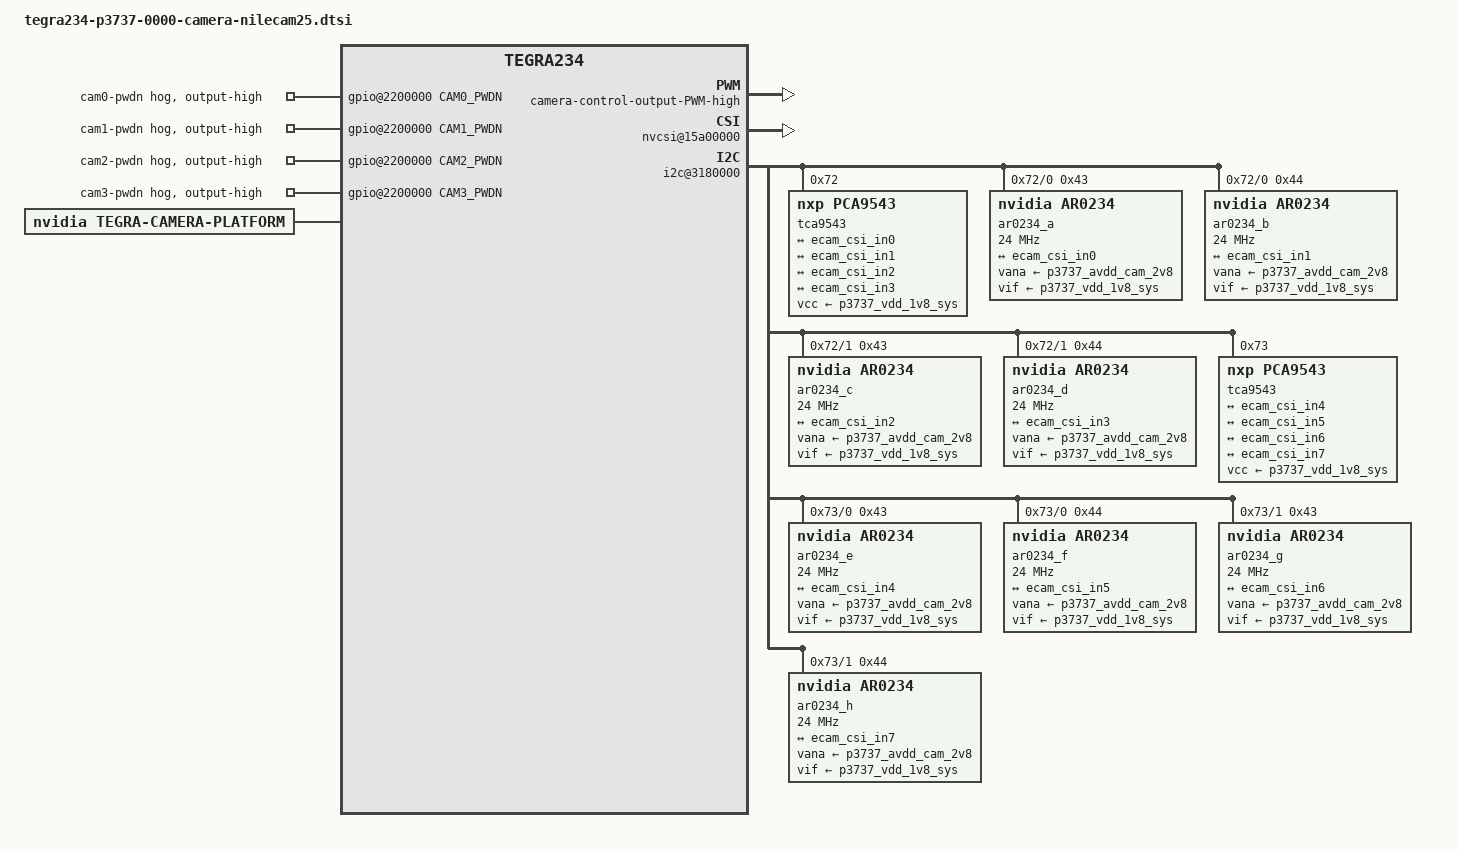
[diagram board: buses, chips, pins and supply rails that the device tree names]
/* Econ device tree for AR0234 support */

#include "dt-bindings/clock/tegra234-clock.h"

#define CAM0_PWDN	TEGRA234_MAIN_GPIO(H, 6)
#define CAM1_PWDN	TEGRA234_MAIN_GPIO(AC, 0)
#define CAM2_PWDN	TEGRA234_MAIN_GPIO(H, 3)
#define CAM3_PWDN	TEGRA234_MAIN_GPIO(AC, 1)
#define CAM_PWM		TEGRA234_MAIN_GPIO(M, 7)
#define CAM_I2C_MUX 	TEGRA234_AON_GPIO(CC, 3)
#define CAMERA_I2C_MUX_BUS(x) (0x1E + x)

#define CAM_LANES 2
#define CAM_LANES_STRING "2"

/ {
	gpio@2200000 {
	
		camera-control-output-CAM0-high {
                        status = "okay";
                        gpio-hog;
                        gpios = <CAM0_PWDN 0>;
                        output-high;
                        label = "cam0-pwdn";
                };
		camera-control-output-CAM1-high {
                        status = "okay";
                        gpio-hog;
                        gpios = <CAM1_PWDN 0>;
                        output-high;
                        label = "cam1-pwdn";
                };
                camera-control-output-CAM2-high {
                        status = "okay";
                        gpio-hog;
                        gpios = <CAM2_PWDN 0>;
                        output-high;
                        label = "cam2-pwdn";
                };
                camera-control-output-CAM3-high {
                        status = "okay";
                        gpio-hog;
                        gpios = <CAM3_PWDN 0>;
                        output-high;
                        label = "cam3-pwdn";
                };
                camera-control-output-PWM-high {
                        status = "okay";
                        gpio-hog;
                        gpios = <CAM_PWM 0>;
                        output-high;
                        label = "cam-pwm";
                };
	};

capture_vi_base: tegra-capture-vi  {
			num-channels = <8>;
			#address-cells = <1>;
			#size-cells = <0>;
			status = "okay";
			ports {
				#address-cells = <1>;
				#size-cells = <0>;
				status = "okay";
				port@0 {
					reg = <0>;
					status = "okay";
					ecam_vi_in0: endpoint {
						vc-id = <0x01>;
						status = "okay";
						port-index = <0>;
						bus-width = <CAM_LANES>;
						remote-endpoint = <&ecam_csi_out0>;
					};
				};
				port@1 {
                                        reg = <1>;
					status = "okay";
                                        ecam_vi_in1: endpoint {
                                        	vc-id = <0x00>;
						status = "okay";
                                                port-index = <1>;
                                                bus-width = <CAM_LANES>;
                                                remote-endpoint = <&ecam_csi_out1>;
                                        };
                                };
                                port@2 {
                                        reg = <2>;
					status = "okay";
                                        ecam_vi_in2: endpoint {
                                        	vc-id = <0x01>;
						status = "okay";
                                                port-index = <2>;
                                                bus-width = <CAM_LANES>;
                                                remote-endpoint = <&ecam_csi_out2>;
                                        };
                                };
				port@3 {
                                        reg = <3>;
					status = "okay";
                                        ecam_vi_in3: endpoint {
						status = "okay";
						vc-id = <0x00>;
                                                port-index = <3>;
                                                bus-width = <CAM_LANES>;
                                                remote-endpoint = <&ecam_csi_out3>;
                                        };
                                };
				port@4 {
                                        reg = <4>;
					status = "okay";
                                        ecam_vi_in4: endpoint {
                                        	vc-id = <0x01>;
						status = "okay";
                                                port-index = <4>;
                                                bus-width = <CAM_LANES>;
                                                remote-endpoint = <&ecam_csi_out4>;
                                        };
                                };
				port@5 {
                                        reg = <5>;
					 status = "okay";
                                        ecam_vi_in5: endpoint {
						status = "okay";
						vc-id = <0x00>;
                                                port-index = <4>;
                                                bus-width = <CAM_LANES>;
                                                remote-endpoint = <&ecam_csi_out5>;
                                        };
                                };
				port@6 {
                                        reg = <6>;
					status = "okay";
                                        ecam_vi_in6: endpoint {
						status = "okay";
						vc-id = <0x01>;
                                                port-index = <5>;
                                                bus-width = <CAM_LANES>;
                                                remote-endpoint = <&ecam_csi_out6>;
                                        };
                                };
				port@7 {
                                        reg = <7>;
					status = "okay";
                                        ecam_vi_in7: endpoint {
						status = "okay";
						vc-id = <0x00>;
                                                port-index = <5>;
                                                bus-width = <CAM_LANES>;
                                                remote-endpoint = <&ecam_csi_out7>;
                                        };
                                };

			};
		};

	host1x@13e00000 {

		nvcsi@15a00000 {
			num-channels = <8>;
			#address-cells = <1>;
			#size-cells = <0>;
			status = "okay";
	    		channel@0 {
				reg = <0>;
				status = "okay";
				ports {
					#address-cells = <1>;
					#size-cells = <0>;
					port@0 {
						reg = <0>;
						status = "okay";
						ecam_csi_in0: endpoint@0 {
							status = "okay";
							port-index = <0>;
							bus-width = <CAM_LANES>;
							remote-endpoint = <&ecam_ar0234_out0>;
						};
					};
					port@1 {
						reg = <1>;
						status = "okay";
						ecam_csi_out0: endpoint@1 {
							status = "okay";
							remote-endpoint = <&ecam_vi_in0>;
						};
					};
				};
			};
                        channel@1 {
                                reg = <1>;
				status = "okay";
                                ports {
                                        #address-cells = <1>;
                                        #size-cells = <0>;
                                        port@0 {
                                                reg = <0>;
						status = "okay";
                                                ecam_csi_in1: endpoint@2 {
							status = "okay";
                                                        port-index = <1>;
                                                        bus-width = <CAM_LANES>;
                                                        remote-endpoint = <&ecam_ar0234_out1>;
                                                };
                                        };
                                        port@1 {
                                                reg = <1>;
						status = "okay";
                                                ecam_csi_out1: endpoint@3 {
							status = "okay";
                                                        remote-endpoint = <&ecam_vi_in1>;
                                                };
                                        };
                                };
                        };
                        channel@2 {
                                reg = <2>;
				status = "okay";
                                ports {
                                        #address-cells = <1>;
                                        #size-cells = <0>;
                                        port@0 {
                                                reg = <0>;
						status = "okay";
                                                ecam_csi_in2: endpoint@4 {
							status = "okay";
                                                        port-index = <2>;
                                                        bus-width = <CAM_LANES>;
                                                        remote-endpoint = <&ecam_ar0234_out2>;
                                                };
                                        };
                                        port@1 {
                                                reg = <1>;
						status = "okay";
                                                ecam_csi_out2: endpoint@5 {
							status = "okay";
                                                        remote-endpoint = <&ecam_vi_in2>;
                                                };
                                        };
                                };
                        };
			channel@3 {
                                reg = <3>;
				status = "okay";
                                ports {
                                        #address-cells = <1>;
                                        #size-cells = <0>;
                                        port@0 {
                                                reg = <0>;
						status = "okay";
                                                ecam_csi_in3: endpoint@6 {
							status = "okay";
                                                        port-index = <3>;
                                                        bus-width = <CAM_LANES>;
                                                        remote-endpoint = <&ecam_ar0234_out3>;
                                                };
                                        };
                                        port@1 {
                                                reg = <1>;
						status = "okay";
                                                ecam_csi_out3: endpoint@7 {
							status = "okay";
                                                        remote-endpoint = <&ecam_vi_in3>;
                                                };
                                        };
                                };
                        };
			channel@4 {
                                reg = <4>;
				status = "okay";
                                ports {
                                        #address-cells = <1>;
                                        #size-cells = <0>;
                                        port@0 {
                                                reg = <0>;
						status = "okay";
                                                ecam_csi_in4: endpoint@8 {
							status = "okay";
                                                        port-index = <4>;
                                                        bus-width = <CAM_LANES>;
                                                        remote-endpoint = <&ecam_ar0234_out4>;
                                                };
                                        };
                                        port@1 {
                                                reg = <1>;
						status = "okay";
                                                ecam_csi_out4: endpoint@9 {
							status = "okay";
                                                        remote-endpoint = <&ecam_vi_in4>;
                                                };
                                        };
                                };
                        };
			channel@5 {
				reg = <5>;
				status = "okay";
				ports {
					#address-cells = <1>;
					#size-cells = <0>;
					port@0 {
						reg = <0>;
						status = "okay";
						ecam_csi_in5: endpoint@10 {
							status = "okay";
							port-index = <4>;
							bus-width = <CAM_LANES>;
							remote-endpoint = <&ecam_ar0234_out5>;
						};
					};
					port@1 {
						reg = <1>;
						status = "okay";
						ecam_csi_out5: endpoint@11 {
							status = "okay";
							remote-endpoint = <&ecam_vi_in5>;
						};
					};
				};
			};
			channel@6 {
				reg = <6>;
				status = "okay";
				ports {
					#address-cells = <1>;
					#size-cells = <0>;
					port@0 {
						reg = <0>;
						status = "okay";
						ecam_csi_in6: endpoint@12 {
							status = "okay";
							port-index = <6>;
							bus-width = <CAM_LANES>;
							remote-endpoint = <&ecam_ar0234_out6>;
						};
					};
					port@1 {
						reg = <1>;
						status = "okay";
						ecam_csi_out6: endpoint@13 {
							status = "okay";
							remote-endpoint = <&ecam_vi_in6>;
						};
					};
				};
			};
			channel@7 {
				reg = <7>;
				status = "okay";
				ports {
					#address-cells = <1>;
					#size-cells = <0>;
					port@0 {
						reg = <0>;
						status = "okay";
						ecam_csi_in7: endpoint@14 {
							status = "okay";
							port-index = <6>;
							bus-width = <CAM_LANES>;
							remote-endpoint = <&ecam_ar0234_out7>;
						};
					};
					port@1 {
						reg = <1>;
						status = "okay";
						ecam_csi_out7: endpoint@15 {
							status = "okay";
							remote-endpoint = <&ecam_vi_in7>;
						};
					};
				};
			};

		};
	};

	fixed-regulators {
			p3737_vdd_1v8_sys: regulator@103 {
					regulator-always-on;
			};
	};


	i2c@3180000 {
		status = "okay";
		#address-cells = <1>;
		#size-cells = <0>;
		tca9543@72 {
			compatible = "nxp,pca9543";
			reg = <0x72>;
			#address-cells = <1>;
			#size-cells = <0>;
			vcc-supply = <&p3737_vdd_1v8_sys>;
			skip_mux_detect;
			force_bus_start = <0x1e>;
			status = "okay";

			/* /dev/i2c-30/ */
			i2c@0 {
				reg = <0>;
				i2c-mux,deselect-on-exit;
				#address-cells = <1>;
				#size-cells = <0>;
				status = "okay";
				ar0234_a@43 {
					status = "okay";
					compatible = "nvidia,ar0234";
					reg = <0x43>;
					sensor_model ="ar0234";
					avdd-reg = "vana";
					iovdd-reg = "vif";
					clocks = <&bpmp_clks TEGRA234_CLK_EXTPERIPH1>,
							 <&bpmp_clks TEGRA234_CLK_EXTPERIPH1>;
					clock-names = "extperiph1", "pllp_grtba";
					mclk = "extperiph1";
					clock-frequency = <24000000>;
					//deser-reset-gpios = <&tegra_main_gpio CAM0_PWDN GPIO_ACTIVE_HIGH>;
					vana-supply = <&p3737_avdd_cam_2v8>;
					vif-supply = <&p3737_vdd_1v8_sys>;
					use_sensor_mode_id = "false";
					camera_mipi_lanes = <2>;
					camera-mipi-clk = <1200>;	
					sio-port = "A";
#define TEGRA_SINTERFACE "serial_a"
#include "nilecam25_cuoagx_mode.dtsi"	
					ports {
						#address-cells = <1>;
						#size-cells = <0>;
						port@0 {
							reg = <0>;
							ecam_ar0234_out0: endpoint {
								vc-id = <1>;
								port-index = <0>;
								bus-width = <CAM_LANES>;
								remote-endpoint = <&ecam_csi_in0>;
								};
							};
						};
					};
			ar0234_b@44 {
					status = "okay";
					compatible = "nvidia,ar0234";
					reg = <0x44>;
					sensor_model ="ar0234";
					avdd-reg = "vana";
					iovdd-reg = "vif";
					clocks = <&bpmp_clks TEGRA234_CLK_EXTPERIPH1>,
							 <&bpmp_clks TEGRA234_CLK_EXTPERIPH1>;
					clock-names = "extperiph1", "pllp_grtba";
					mclk = "extperiph1";
					clock-frequency = <24000000>;
					//deser-reset-gpios = <&tegra_main_gpio CAM0_PWDN GPIO_ACTIVE_HIGH>; 
					vana-supply = <&p3737_avdd_cam_2v8>;
					vif-supply = <&p3737_vdd_1v8_sys>;
					use_sensor_mode_id = "false";
					camera_mipi_lanes = <2>;
					camera-mipi-clk = <1200>;
					sio-port = "B";
#undef TEGRA_SINTERFACE	
#define TEGRA_SINTERFACE "serial_b"
#include "nilecam25_cuoagx_mode.dtsi"	
					ports {
						#address-cells = <1>;
						#size-cells = <0>;
						port@0 {
							reg = <0>;
							ecam_ar0234_out1: endpoint {
								vc-id = <0>;
								port-index = <1>;
								bus-width = <CAM_LANES>;
								remote-endpoint = <&ecam_csi_in1>;
								};
							};
						};
					};
				};
			i2c@1 {
				reg = <1>;
				i2c-mux,deselect-on-exit;
				#address-cells = <1>;
				#size-cells = <0>;
				status = "okay";
				ar0234_c@43 {
					status = "okay";
					compatible = "nvidia,ar0234";
					reg = <0x43>;
					sensor_model ="ar0234";
					avdd-reg = "vana";
					iovdd-reg = "vif";
					clocks = <&bpmp_clks  TEGRA234_CLK_EXTPERIPH1>,
							 <&bpmp_clks TEGRA234_CLK_EXTPERIPH1>;
					clock-names = "extperiph1", "pllp_grtba";
					mclk = "extperiph1";
					clock-frequency = <24000000>;
					//deser-reset-gpios = <&tegra_main_gpio CAM1_PWDN GPIO_ACTIVE_HIGH>;
					vana-supply = <&p3737_avdd_cam_2v8>;
					vif-supply = <&p3737_vdd_1v8_sys>;
					use_sensor_mode_id = "false";
					camera_mipi_lanes = <2>;
					camera-mipi-clk = <1200>;
					sio-port = "A";
#undef TEGRA_SINTERFACE	
#define TEGRA_SINTERFACE "serial_c"
#include "nilecam25_cuoagx_mode.dtsi"
					ports {
						#address-cells = <1>;
						#size-cells = <0>;
						port@0 {
							reg = <0>;
							ecam_ar0234_out2: endpoint {
								vc-id = <1>;
								port-index = <2>;
								bus-width = <CAM_LANES>;
								remote-endpoint = <&ecam_csi_in2>;
								};
							};
						};
				};
			ar0234_d@44 {
					status = "okay";
					compatible = "nvidia,ar0234";
					reg = <0x44>;
					sensor_model ="ar0234";
					avdd-reg = "vana";
					iovdd-reg = "vif";
					clocks = <&bpmp_clks  TEGRA234_CLK_EXTPERIPH1>,
							 <&bpmp_clks TEGRA234_CLK_EXTPERIPH1>;
					clock-names = "extperiph1", "pllp_grtba";
					mclk = "extperiph1";
					clock-frequency = <24000000>;
					//deser-reset-gpios = <&tegra_main_gpio CAM1_PWDN GPIO_ACTIVE_HIGH>;
					vana-supply = <&p3737_avdd_cam_2v8>;
					vif-supply = <&p3737_vdd_1v8_sys>;
					use_sensor_mode_id = "false";
					camera_mipi_lanes = <2>;
					camera-mipi-clk = <1200>;	
					sio-port = "B";	
#undef TEGRA_SINTERFACE	
#define TEGRA_SINTERFACE "serial_d"
#include "nilecam25_cuoagx_mode.dtsi"
					ports {
						#address-cells = <1>;
						#size-cells = <0>;
						port@0 {
							reg = <0>;
							ecam_ar0234_out3: endpoint {
								vc-id = <0>;
								port-index = <3>;
								bus-width = <CAM_LANES>;
								remote-endpoint = <&ecam_csi_in3>;
								};
							};
						};
					};
				};
			};
		tca9543@73 {
			compatible = "nxp,pca9543";
			reg = <0x73>;
			#address-cells = <1>;
			#size-cells = <0>;
			skip_mux_detect = "yes";
			vcc-supply = <&p3737_vdd_1v8_sys>;
			force_bus_start = <CAMERA_I2C_MUX_BUS(2)>; /* Force start of bus 32 */
			status = "okay";
			/* /dev/i2c-32/ */

			i2c@0 {
				reg = <0>;
				i2c-mux,deselect-on-exit;
				#address-cells = <1>;
				#size-cells = <0>;
				status = "okay";
				ar0234_e@43 {
					status = "okay";
					compatible = "nvidia,ar0234";
					reg = <0x43>;
					sensor_model ="ar0234";
					avdd-reg = "vana";
					iovdd-reg = "vif";
					clocks = <&bpmp_clks  TEGRA234_CLK_EXTPERIPH1>,
							 <&bpmp_clks TEGRA234_CLK_EXTPERIPH1>;
					clock-names = "extperiph1", "pllp_grtba";
					mclk = "extperiph1";
					clock-frequency = <24000000>;
					//deser-reset-gpios = <&tegra_main_gpio CAM2_PWDN GPIO_ACTIVE_HIGH>;
 					vana-supply = <&p3737_avdd_cam_2v8>;
					vif-supply = <&p3737_vdd_1v8_sys>;
					use_sensor_mode_id = "false";
					camera_mipi_lanes = <2>;
					camera-mipi-clk = <1200>;
					sio-port = "A";	
#undef TEGRA_SINTERFACE	
#define TEGRA_SINTERFACE "serial_e"
#include "nilecam25_cuoagx_mode.dtsi"
					ports {
						#address-cells = <1>;
						#size-cells = <0>;
						port@0 {
							reg = <0>;
							ecam_ar0234_out4: endpoint {
								vc-id = <1>;
								port-index = <4>;
								bus-width = <CAM_LANES>;
								remote-endpoint = <&ecam_csi_in4>;
								};
							};
						};
					};
				ar0234_f@44 {
					status = "okay";
					compatible = "nvidia,ar0234";
					reg = <0x44>;
					sensor_model ="ar0234";
					avdd-reg = "vana";
					iovdd-reg = "vif";
					clocks = <&bpmp_clks  TEGRA234_CLK_EXTPERIPH1>,
							 <&bpmp_clks TEGRA234_CLK_EXTPERIPH1>;
					clock-names = "extperiph1", "pllp_grtba";
					mclk = "extperiph1";
					clock-frequency = <24000000>;
					//deser-reset-gpios = <&tegra_main_gpio CAM2_PWDN GPIO_ACTIVE_HIGH>;
					vana-supply = <&p3737_avdd_cam_2v8>;
					vif-supply = <&p3737_vdd_1v8_sys>;
					use_sensor_mode_id = "false";
					camera_mipi_lanes = <2>;
					camera-mipi-clk = <1200>;
					sio-port = "B";	

#undef TEGRA_SINTERFACE	
#define TEGRA_SINTERFACE "serial_f"
#include "nilecam25_cuoagx_mode.dtsi"	
					ports {
						#address-cells = <1>;
						#size-cells = <0>;
						port@0 {
							reg = <0>;
							ecam_ar0234_out5: endpoint {
								vc-id = <0>;
								port-index = <4>;
								bus-width = <CAM_LANES>;
								remote-endpoint = <&ecam_csi_in5>;
								};
							};
						};
					};
				};
				i2c@1 {
				reg = <1>;
				i2c-mux,deselect-on-exit;
				#address-cells = <1>;
				#size-cells = <0>;
				status = "okay";
				ar0234_g@43 {
					status = "okay";
					compatible = "nvidia,ar0234";
					reg = <0x43>;
					sensor_model ="ar0234";
					avdd-reg = "vana";
					iovdd-reg = "vif";
					clocks = <&bpmp_clks  TEGRA234_CLK_EXTPERIPH1>,
							 <&bpmp_clks TEGRA234_CLK_EXTPERIPH1>;
					clock-names = "extperiph1", "pllp_grtba";
					mclk = "extperiph1";
					clock-frequency = <24000000>;
					//deser-reset-gpios = <&tegra_main_gpio CAM3_PWDN GPIO_ACTIVE_HIGH>;
 					vana-supply = <&p3737_avdd_cam_2v8>;
					vif-supply = <&p3737_vdd_1v8_sys>;
					use_sensor_mode_id = "false";
					camera_mipi_lanes = <2>;
					camera-mipi-clk = <1200>;	
					sio-port = "A";	
#undef TEGRA_SINTERFACE	
#define TEGRA_SINTERFACE "serial_g"
#include "nilecam25_cuoagx_mode.dtsi"
					ports {
						#address-cells = <1>;
						#size-cells = <0>;
						port@0 {
							reg = <0>;
							ecam_ar0234_out6: endpoint {
								vc-id = <1>;
								port-index = <6>;
								bus-width = <CAM_LANES>;
								remote-endpoint = <&ecam_csi_in6>;
								};
							};
						};
					};
				ar0234_h@44 {
					status = "okay";
					compatible = "nvidia,ar0234";
					reg = <0x44>;
					sensor_model ="ar0234";
					avdd-reg = "vana";
					iovdd-reg = "vif";
					clocks = <&bpmp_clks  TEGRA234_CLK_EXTPERIPH1>,
							 <&bpmp_clks TEGRA234_CLK_EXTPERIPH1>;
					clock-names = "extperiph1", "pllp_grtba";
					mclk = "extperiph1";
					clock-frequency = <24000000>;
					//deser-reset-gpios = <&tegra_main_gpio CAM3_PWDN GPIO_ACTIVE_HIGH>;
					vana-supply = <&p3737_avdd_cam_2v8>;
					vif-supply = <&p3737_vdd_1v8_sys>;
					use_sensor_mode_id = "false";
					camera_mipi_lanes = <2>;
					camera-mipi-clk = <1200>;	
					sio-port = "B";	
#undef TEGRA_SINTERFACE	
#define TEGRA_SINTERFACE "serial_h"
#include "nilecam25_cuoagx_mode.dtsi"
					ports {
						#address-cells = <1>;
						#size-cells = <0>;
						port@0 {
							reg = <0>;
							ecam_ar0234_out7: endpoint {
								vc-id = <0>;
								port-index = <6>;
								bus-width = <CAM_LANES>;
								remote-endpoint = <&ecam_csi_in7>;
								};
							};
						};
					};
				};
			};
		};
	};
/ {
	tegra-camera-platform {
		compatible = "nvidia, tegra-camera-platform";
		num_csi_lanes = <8>;
		max_lane_speed = <2500000>;
		min_bits_per_pixel = <16>;
		vi_peak_byte_per_pixel = <2>;
		vi_bw_margin_pct = <67>;
		max_pixel_rate = <750000>;
		isp_peak_byte_per_pixel = <5>;
		isp_bw_margin_pct = <25>;

		modules {
			module0 {
				badge = "nilecam25_cuoagx";
				position = "bottomleft";
				orientation = "1";
				drivernode0 {
					pcl_id = "v4l2_sensor";
					devname = "ar0234 30-0043";
					proc-device-tree = "/proc/device-tree/i2c@3180000/tca9543@72/i2c@0/ar0234_a@43";
					status = "okay";
				};
			};
			module1 {
				badge = "nilecam25_cuoagx";
				position = "bottomright";
				orientation = "1";
				drivernode0 {
					pcl_id = "v4l2_sensor";
					devname = "ar0234 30-0044";
					proc-device-tree = "/proc/device-tree/i2c@3180000/tca9543@72/i2c@0/ar0234_b@44";
					status = "okay";
				};
			};
			module2 {
				badge = "nilecam25_cuoagx";
				position = "centerleft";
				orientation = "1";
				drivernode0 {
					pcl_id = "v4l2_sensor";
					devname = "ar0234 31-0043";
					proc-device-tree = "/proc/device-tree/i2c@3180000/tca9543@72/i2c@1/ar0234_c@43";
					status = "okay";
				};
			};
			module3 {
				badge = "nilecam25_cuoagx";
				position = "centerright";
				orientation = "1";
				drivernode0 {
					pcl_id = "v4l2_sensor";
					devname = "ar0234 31-0044";
					proc-device-tree = "/proc/device-tree/i2c@3180000/tca9543@72/i2c@1/ar0234_d@44";
					status = "okay";
				};
			};
			module4 {
				badge = "nilecam25_cuoagx";
				position = "topleft";
				orientation = "1";
				drivernode0 {
					pcl_id = "v4l2_sensor";
					devname = "ar0234 32-0043";
					proc-device-tree = "/proc/device-tree/i2c@3180000/tca9543@73/i2c@0/ar0234_e@43";
					status = "okay";
				};
			};
			module5 {
				badge = "nilecam25_cuoagx";
				position = "topright";
				orientation = "1";
				drivernode0 {
					pcl_id = "v4l2_sensor";
					devname = "ar0234 32-0044";
					proc-device-tree = "/proc/device-tree/i2c@3180000/tca9543@73/i2c@0/ar0234_f@44";
					status = "okay";
				};
			};
			module6 {
				badge = "nilecam25_cuoagx";
				position = "centerleft";
				orientation = "1";
				drivernode0 {
					pcl_id = "v4l2_sensor";
					devname = "ar0234 33-0043";
					proc-device-tree = "/proc/device-tree/i2c@3180000/tca9543@73/i2c@1/ar0234_g@43";
					status = "okay";
				};
			};

			module7 {
				badge = "nilecam25_cuoagx";
				position = "bottomleft";
				orientation = "1";
				drivernode0 {
					pcl_id = "v4l2_sensor";
					devname = "ar0234 33-0044";
					proc-device-tree = "/proc/device-tree/i2c@3180000/tca9543@73/i2c@1/ar0234_h@44";
					status = "okay";
				};
			};
                 };
	};
};



